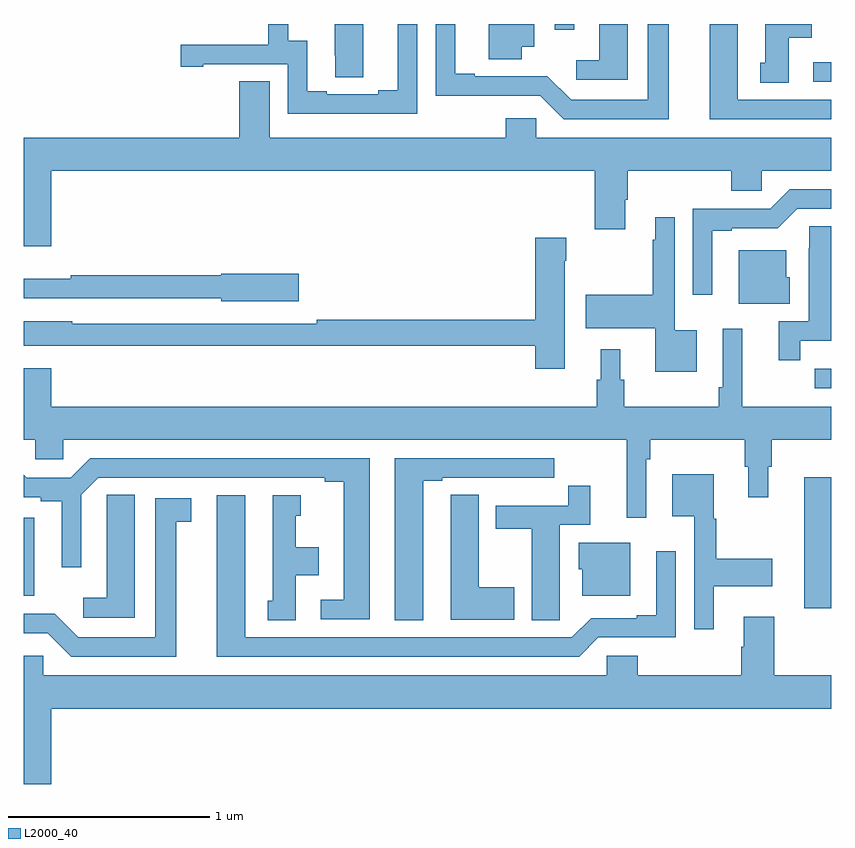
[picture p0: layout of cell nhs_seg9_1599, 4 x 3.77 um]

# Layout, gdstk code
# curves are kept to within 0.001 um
import gdstk
lib = gdstk.Library(unit=1e-6, precision=1e-09)
def R(c, l, rs):  # rectangles x0, y0, x1, y1
    for r in rs: c.add(gdstk.rectangle(r[:2], r[2:], *l))
def P(c, l, *ps):  # polygons
    for p in ps: c.add(gdstk.Polygon(p, *l))
L2000_40 = (2000, 40)

nhs_seg9_1599 = lib.new_cell('nhs_seg9_1599')
R(nhs_seg9_1599, L2000_40, [(204.866,1175.604,205,1176.253), (201,1175.666,201.052,1176.054), (204.918,1176.696,205,1176.792), (204.912,1178.214,205,1178.31), (203.631,1178.472,203.727,1178.5)])
P(nhs_seg9_1599, L2000_40, [(204.196,1178.5),(204.092,1178.5),(204.092,1178.124),(203.712,1178.124),(203.594,1178.242),(203.233,1178.241),(203.233,1178.254),(203.137,1178.254),(203.137,1178.5),(203.04,1178.5),(203.04,1178.144),(203.559,1178.145),(203.676,1178.028),(204.196,1178.028)],
  [(202.95,1178.5),(202.853,1178.5),(202.853,1178.171),(202.757,1178.171),(202.757,1178.151),(202.501,1178.151),(202.501,1178.166),(202.405,1178.166),(202.405,1178.417),(202.311,1178.417),(202.311,1178.5),(202.212,1178.5),(202.212,1178.397),(201.777,1178.397),(201.777,1178.289),(201.889,1178.289),(201.889,1178.301),(202.308,1178.301),(202.308,1178.055),(202.95,1178.055)],
  [(203.467,1178.387),(203.53,1178.387),(203.53,1178.5),(203.303,1178.5),(203.303,1178.326),(203.467,1178.326)],
  [(204.79,1178.432),(204.904,1178.432),(204.904,1178.5),(204.674,1178.5),(204.674,1178.307),(204.65,1178.307),(204.65,1178.209),(204.79,1178.209)],
  [(202.681,1178.5),(202.541,1178.5),(202.541,1178.344),(202.542,1178.344),(202.542,1178.236),(202.681,1178.236)],
  [(205,1178.124),(204.538,1178.124),(204.538,1178.5),(204.398,1178.5),(204.398,1178.028),(205,1178.028)],
  [(203.992,1178.5),(203.852,1178.5),(203.852,1178.32),(203.736,1178.32),(203.736,1178.223),(203.992,1178.223)],
  [(201.136,1177.772),(203.828,1177.772),(203.828,1177.482),(203.98,1177.482),(203.98,1177.63),(203.993,1177.63),(203.993,1177.772),(204.506,1177.772),(204.506,1177.674),(204.657,1177.674),(204.657,1177.772),(205,1177.772),(205,1177.936),(203.538,1177.936),(203.538,1178.034),(203.387,1178.034),(203.387,1177.936),(202.219,1177.936),(202.219,1178.216),(202.067,1178.216),(202.067,1177.936),(201,1177.936),(201,1177.398),(201.136,1177.398)],
  [(204.412,1177.476),(204.508,1177.476),(204.508,1177.488),(204.735,1177.488),(204.831,1177.584),(205,1177.584),(205,1177.68),(204.795,1177.68),(204.699,1177.584),(204.315,1177.584),(204.315,1177.158),(204.412,1177.158)],
  [(204.334,1176.982),(204.225,1176.982),(204.225,1177.543),(204.128,1177.543),(204.128,1177.43),(204.117,1177.43),(204.117,1177.158),(203.784,1177.158),(203.784,1176.992),(204.128,1176.992),(204.128,1176.776),(204.334,1176.776)],
  [(204.848,1176.93),(205,1176.93),(205,1177.499),(204.891,1177.499),(204.891,1177.388),(204.89,1177.388),(204.89,1177.026),(204.74,1177.026),(204.74,1176.834),(204.848,1176.834)],
  [(203.68,1177.328),(203.688,1177.328),(203.688,1177.441),(203.534,1177.441),(203.534,1177.034),(202.45,1177.034),(202.45,1177.014),(201.24,1177.014),(201.24,1177.027),(201,1177.027),(201,1176.905),(201.24,1176.905),(201.24,1176.906),(203.534,1176.906),(203.534,1176.792),(203.68,1176.792)],
  [(204.796,1177.245),(204.778,1177.245),(204.778,1177.378),(204.542,1177.378),(204.542,1177.115),(204.796,1177.115)],
  [(202.363,1177.262),(201.978,1177.262),(201.978,1177.256),(201.232,1177.256),(201.232,1177.237),(201,1177.237),(201,1177.14),(201.978,1177.14),(201.978,1177.127),(202.363,1177.127)],
  [(201,1176.44),(201.057,1176.44),(201.057,1176.342),(201.195,1176.342),(201.195,1176.44),(203.987,1176.44),(203.987,1176.054),(204.084,1176.054),(204.084,1176.344),(204.104,1176.344),(204.104,1176.44),(204.571,1176.44),(204.571,1176.306),(204.59,1176.306),(204.59,1176.156),(204.688,1176.156),(204.688,1176.306),(204.707,1176.306),(204.707,1176.44),(205,1176.44),(205,1176.604),(204.56,1176.604),(204.56,1176.991),(204.462,1176.991),(204.462,1176.7),(204.442,1176.7),(204.442,1176.604),(203.975,1176.604),(203.975,1176.738),(203.956,1176.738),(203.956,1176.889),(203.858,1176.889),(203.858,1176.738),(203.839,1176.738),(203.839,1176.604),(201.136,1176.604),(201.136,1176.793),(201,1176.793)],
  [(202.714,1176.348),(201.329,1176.348),(201.233,1176.252),(201.015,1176.252),(201,1176.267),(201,1176.156),(201.084,1176.156),(201.084,1176.136),(201.188,1176.136),(201.188,1175.808),(201.285,1175.808),(201.285,1176.168),(201.369,1176.252),(202.49,1176.252),(202.49,1176.232),(202.586,1176.232),(202.586,1175.646),(202.47,1175.646),(202.47,1175.55),(202.714,1175.55)],
  [(202.978,1176.237),(203.074,1176.237),(203.074,1176.252),(203.35,1176.252),(203.35,1176.251),(203.516,1176.251),(203.516,1176.252),(203.629,1176.252),(203.629,1176.348),(202.838,1176.348),(202.838,1175.545),(202.978,1175.545)],
  [(204.418,1175.714),(204.709,1175.714),(204.709,1175.849),(204.43,1175.849),(204.43,1176.048),(204.418,1176.048),(204.418,1176.268),(204.212,1176.268),(204.212,1176.062),(204.321,1176.062),(204.321,1175.502),(204.418,1175.502)],
  [(203.655,1175.656),(203.656,1175.656),(203.656,1176.018),(203.807,1176.018),(203.807,1176.211),(203.698,1176.211),(203.698,1176.114),(203.339,1176.114),(203.339,1175.998),(203.516,1175.998),(203.516,1175.545),(203.655,1175.545)],
  [(203.431,1175.709),(203.254,1175.709),(203.254,1176.167),(203.115,1176.167),(203.115,1176.059),(203.114,1176.059),(203.114,1175.549),(203.431,1175.549)],
  [(201.55,1176.167),(201.411,1176.167),(201.411,1176.059),(201.41,1176.059),(201.41,1175.656),(201.294,1175.656),(201.294,1175.559),(201.55,1175.559)],
  [(202.348,1175.768),(202.462,1175.768),(202.462,1175.908),(202.348,1175.908),(202.348,1176.063),(202.372,1176.063),(202.372,1176.166),(202.232,1176.166),(202.232,1175.643),(202.208,1175.643),(202.208,1175.545),(202.348,1175.545)],
  [(203.847,1175.46),(204.231,1175.46),(204.231,1175.887),(204.134,1175.887),(204.134,1175.569),(204.038,1175.569),(204.038,1175.556),(203.811,1175.556),(203.715,1175.46),(202.096,1175.46),(202.096,1176.166),(201.956,1176.166),(201.956,1175.364),(203.751,1175.364)],
  [(201.754,1176.034),(201.829,1176.034),(201.829,1176.15),(201.65,1176.15),(201.65,1175.46),(201.27,1175.46),(201.153,1175.577),(201,1175.577),(201,1175.481),(201.117,1175.481),(201.234,1175.364),(201.754,1175.364)],
  [(204.004,1175.929),(203.75,1175.929),(203.75,1175.799),(203.768,1175.799),(203.768,1175.666),(204.004,1175.666)],
  [(201.136,1175.108),(205,1175.108),(205,1175.272),(204.719,1175.272),(204.719,1175.563),(204.566,1175.563),(204.566,1175.414),(204.554,1175.414),(204.554,1175.272),(204.041,1175.272),(204.041,1175.37),(203.889,1175.37),(203.889,1175.272),(201.096,1175.272),(201.096,1175.37),(201,1175.37),(201,1174.734),(201.136,1174.734)])

lib.write_gds('nhs_seg9_1599.gds')
